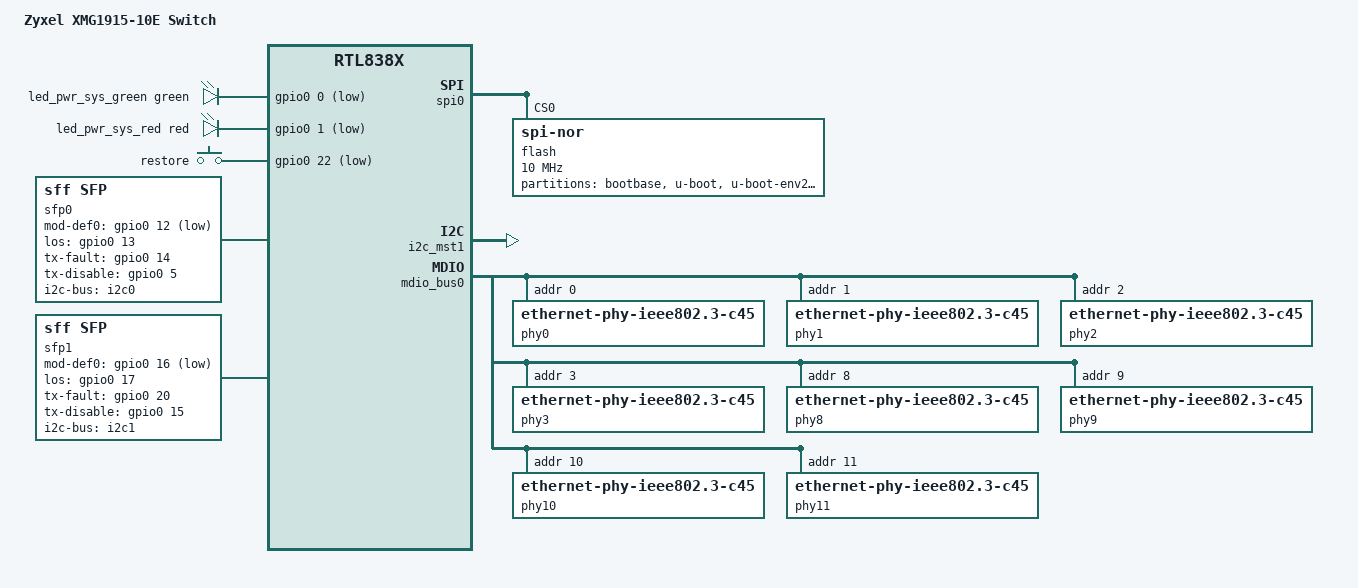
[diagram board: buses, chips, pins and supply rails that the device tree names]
// SPDX-License-Identifier: GPL-2.0-or-later
/dts-v1/;

#include "rtl930x.dtsi"

#include <dt-bindings/input/input.h>
#include <dt-bindings/gpio/gpio.h>
#include <dt-bindings/leds/common.h>

/ {
	compatible = "zyxel,xmg1915-10e", "realtek,rtl838x-soc";
	model = "Zyxel XMG1915-10E Switch";

	leds {
		compatible = "gpio-leds";

		pinctrl-names = "default";
		pinctrl-0 = <&pinmux_disable_sys_led>;

		led_pwr_sys_green: led-0 {
			color = <LED_COLOR_ID_GREEN>;
			function = LED_FUNCTION_POWER;
			gpios = <&gpio0 0 GPIO_ACTIVE_LOW>;
			default-state = "on";
		};

		led_pwr_sys_red: led-1 {
			color = <LED_COLOR_ID_RED>;
			function = LED_FUNCTION_POWER;
			gpios = <&gpio0 1 GPIO_ACTIVE_LOW>;
			default-state = "off";
		};
	};

	led_set: led_set {
		compatible = "realtek,rtl9300-leds";
		active-low;

		// Copper  <Red    Green  Blue>
		led_set0 = <0x0a80 0x0ba8 0x0a08>; // 100Mbps, 100/1000/2500Mbps, 2500Mbps
		// SFP+    <Green Blue>
		led_set1 = <0x0a28 0x0a09>; // 1/2.5Gbps, 2.5/10G

		// PoE and Cloud are 4 leds in total but software managed.
		// Affect them to led_set 1 to avoid shifting the others
		// incorrectly.
		realtek,led-set1-force-port-mask = <0x01800000>;
	};

	keys {
		compatible = "gpio-keys";

		mode {
			label = "restore";
			gpios = <&gpio0 22 GPIO_ACTIVE_LOW>;
			linux,code = <BTN_0>;
		};
	};

	sfp0: sfp-p9 {
		compatible = "sff,sfp";
		i2c-bus = <&i2c0>;
		mod-def0-gpio = <&gpio0 12 GPIO_ACTIVE_LOW>;
		los-gpio = <&gpio0 13 GPIO_ACTIVE_HIGH>;
		tx-fault-gpio = <&gpio0 14 GPIO_ACTIVE_HIGH>;
		tx-disable-gpio = <&gpio0 5 GPIO_ACTIVE_HIGH>;
	};

	sfp1: sfp-p10 {
		compatible = "sff,sfp";
		i2c-bus = <&i2c1>;
		mod-def0-gpio = <&gpio0 16 GPIO_ACTIVE_LOW>;
		los-gpio = <&gpio0 17 GPIO_ACTIVE_HIGH>;
		tx-fault-gpio = <&gpio0 20 GPIO_ACTIVE_HIGH>;
		tx-disable-gpio = <&gpio0 15 GPIO_ACTIVE_HIGH>;
	};
};

&spi0 {
	status = "okay";

	flash@0 {
		compatible = "jedec,spi-nor";
		reg = <0>;
		spi-max-frequency = <10000000>;

		partitions {
			compatible = "fixed-partitions";
			#address-cells = <1>;
			#size-cells = <1>;

			partition@0 {
				label = "bootbase";
				reg = <0x0 0x80000>;
				read-only;

				compatible = "fixed-partitions";
				#address-cells = <1>;
				#size-cells = <1>;

				partition@0 {
					label = "u-boot";
					reg = <0x0 0x7e000>;
				};

				partition@7e000 {
					label = "u-boot-env2";
					reg = <0x7e000 0x1000>;
				};

				partition@7f00 {
					label = "mrd";
					reg = <0x7f000 0x1000>;
				};
			};

			partition@80000 {
				label = "reserved";
				reg = <0x80000 0xf80000>;
				read-only;
			};

			partition@1260000 {
				label = "loader";
				reg = <0x1260000 0x30000>;
			};

			partition@1290000 {
				label = "firmware";
				reg = <0x1290000 0xd70000>;
				compatible = "openwrt,uimage", "denx,uimage";
			};
		};
	};
};

&i2c_mst1 {
	status = "okay";

	/* i2c of the left SFP+ cage seen from the front; port 9 */
	i2c0: i2c@0 {
		reg = <0>;
	};

	/* i2c of the right SFP+ cage seen from the front; port 10 */
	i2c1: i2c@1 {
		reg = <1>;
	};
};

&mdio_bus0 {
	/* External RTL8224 PHY */
	phy0: ethernet-phy@0 {
		reg = <0>;
		compatible = "ethernet-phy-ieee802.3-c45";
		realtek,smi-address = <0 0>;
	};
	phy1: ethernet-phy@1 {
		reg = <1>;
		compatible = "ethernet-phy-ieee802.3-c45";
		realtek,smi-address = <0 1>;
	};
	phy2: ethernet-phy@2 {
		reg = <2>;
		compatible = "ethernet-phy-ieee802.3-c45";
		realtek,smi-address = <0 2>;
	};
	phy3: ethernet-phy@3 {
		reg = <3>;
		compatible = "ethernet-phy-ieee802.3-c45";
		realtek,smi-address = <0 3>;
	};

	/* External RTL8224 PHY */
	phy8: ethernet-phy@8 {
		reg = <8>;
		compatible = "ethernet-phy-ieee802.3-c45";
		realtek,smi-address = <1 4>;
	};
	phy9: ethernet-phy@9 {
		reg = <9>;
		compatible = "ethernet-phy-ieee802.3-c45";
		realtek,smi-address = <1 5>;
	};
	phy10: ethernet-phy@10 {
		reg = <10>;
		compatible = "ethernet-phy-ieee802.3-c45";
		realtek,smi-address = <1 6>;
	};
	phy11: ethernet-phy@11 {
		reg = <11>;
		compatible = "ethernet-phy-ieee802.3-c45";
		realtek,smi-address = <1 7>;
	};
};

&switch0 {
	ports {
		#address-cells = <1>;
		#size-cells = <0>;

		port@0 {
			reg = <0>;
			label = "lan1";
			pcs-handle = <&serdes2>;
			phy-handle = <&phy0>;
			phy-mode = "10g-qxgmii";
			led-set = <0>;
		};
		port@1 {
			reg = <1>;
			label = "lan2";
			phy-handle = <&phy1>;
			phy-mode = "10g-qxgmii";
			led-set = <0>;
		};
		port@2 {
			reg = <2>;
			label = "lan3";
			phy-handle = <&phy2>;
			phy-mode = "10g-qxgmii";
			led-set = <0>;
		};
		port@3 {
			reg = <3>;
			label = "lan4";
			phy-handle = <&phy3>;
			phy-mode = "10g-qxgmii";
			led-set = <0>;
		};
		port@8 {
			reg = <8>;
			label = "lan5";
			pcs-handle = <&serdes3>;
			phy-handle = <&phy8>;
			phy-mode = "10g-qxgmii";
			led-set = <0>;
		};
		port@9 {
			reg = <9>;
			label = "lan6";
			phy-handle = <&phy9>;
			phy-mode = "10g-qxgmii";
			led-set = <0>;
		};
		port@10 {
			reg = <10>;
			label = "lan7";
			phy-handle = <&phy10>;
			phy-mode = "10g-qxgmii";
			led-set = <0>;
		};
		port@11 {
			reg = <11>;
			label = "lan8";
			phy-handle = <&phy11>;
			phy-mode = "10g-qxgmii";
			led-set = <0>;
		};

		port@25 {
			reg = <25>;
			label = "lan9";
			pcs-handle = <&serdes7>;
			phy-mode = "2500base-x";
			sfp = <&sfp0>;
			led-set = <1>;
			managed = "in-band-status";
		};

		port@27 {
			reg = <27>;
			label = "lan10";
			pcs-handle = <&serdes9>;
			phy-mode = "2500base-x";
			sfp = <&sfp1>;
			led-set = <1>;
			managed = "in-band-status";
		};

		port@28 {
			ethernet = <&ethernet0>;
			reg = <28>;
			phy-mode = "internal";
			fixed-link {
				speed = <10000>;
				full-duplex;
			};
		};

	};
};
